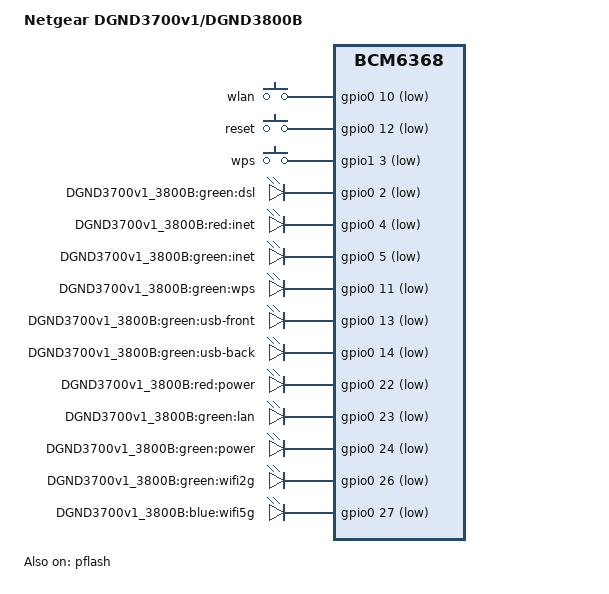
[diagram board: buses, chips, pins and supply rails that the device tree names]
/dts-v1/;

#include "bcm6368.dtsi"

#include <dt-bindings/input/input.h>

/ {
	model = "Netgear DGND3700v1/DGND3800B";
	compatible = "netgear,dgnd3700v1", "brcm,bcm6368";

	gpio-keys-polled {
		compatible = "gpio-keys-polled";
		#address-cells = <1>;
		#size-cells = <0>;
		poll-interval = <20>;
		debounce-interval = <60>;

		wlan {
			label = "wlan";
			gpios = <&gpio0 10 1>;
			linux,code = <KEY_WLAN>;
		};
		reset {
			label = "reset";
			gpios = <&gpio0 12 1>;
			linux,code = <KEY_RESTART>;
		};
		wps {
			label = "wps";
			gpios = <&gpio1 3 1>;
			linux,code = <KEY_WPS_BUTTON>;
		};
	};

	gpio-leds {
		compatible = "gpio-leds";

		dsl_green {
			label = "DGND3700v1_3800B:green:dsl";
			gpios = <&gpio0 2 1>;
		};
		inet_red {
			label = "DGND3700v1_3800B:red:inet";
			gpios = <&gpio0 4 1>;
		};
		inet_green {
			label = "DGND3700v1_3800B:green:inet";
			gpios = <&gpio0 5 1>;
		};
		wps_green {
			label = "DGND3700v1_3800B:green:wps";
			gpios = <&gpio0 11 1>;
		};
		usbfront_green {
			label = "DGND3700v1_3800B:green:usb-front";
			gpios = <&gpio0 13 1>;
		};
		usbback_green {
			label = "DGND3700v1_3800B:green:usb-back";
			gpios = <&gpio0 14 1>;
		};
		power_red {
			label = "DGND3700v1_3800B:red:power";
			gpios = <&gpio0 22 1>;
		};
		lan_green {
			label = "DGND3700v1_3800B:green:lan";
			gpios = <&gpio0 23 1>;
		};
		power_green {
			label = "DGND3700v1_3800B:green:power";
			gpios = <&gpio0 24 1>;
			default-state = "on";
		};
		wifi2g_green {
			label = "DGND3700v1_3800B:green:wifi2g";
			gpios = <&gpio0 26 1>;
		};
		wifi5g_blue {
			label = "DGND3700v1_3800B:blue:wifi5g";
			gpios = <&gpio0 27 1>;
		};
	};
};

&pflash {
	status = "ok";

	linux,part-probe = "bcm63xxpart";

	cfe@0 {
		label = "CFE";
		reg = <0x000000 0x020000>;
		read-only;
	};

	linux@20000 {
		label = "linux";
		reg = <0x020000 0x1e20000>;
	};

	board_data@1e40000 {
		label = "board_data";
		reg = <0x1e40000 0x1a0000>;
		read-only;
	};

	nvram@1fe0000 {
		label = "nvram";
		reg = <0x1fe0000 0x20000>;
	};
};
